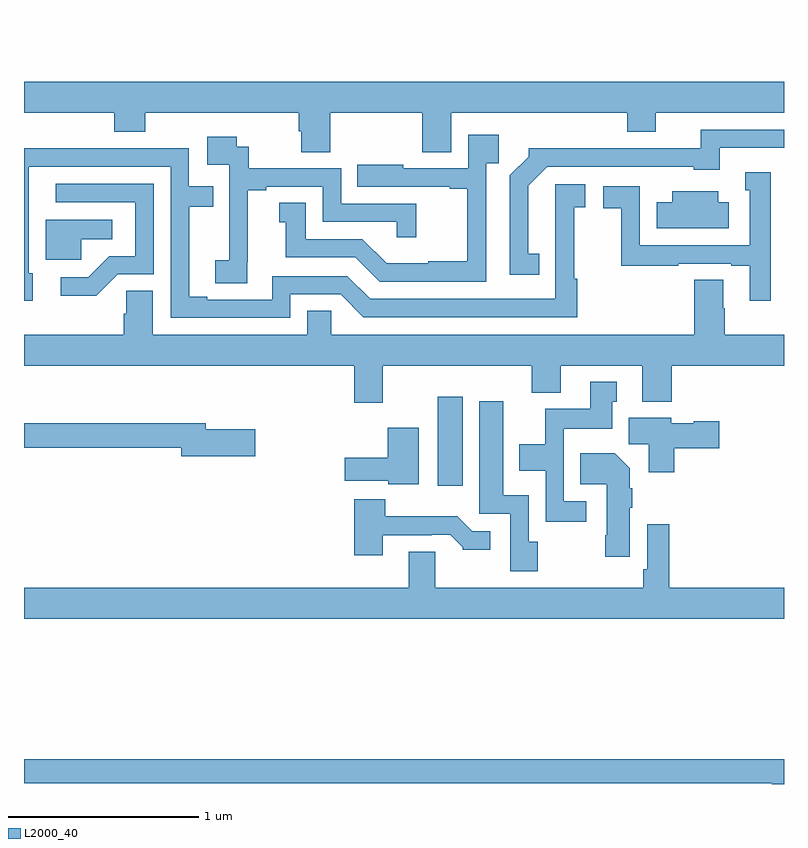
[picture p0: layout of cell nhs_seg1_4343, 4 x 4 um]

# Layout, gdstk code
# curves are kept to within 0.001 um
import gdstk
lib = gdstk.Library(unit=1e-6, precision=1e-09)
def R(c, l, rs):  # rectangles x0, y0, x1, y1
    for r in rs: c.add(gdstk.rectangle(r[:2], r[2:], *l))
def P(c, l, *ps):  # polygons
    for p in ps: c.add(gdstk.Polygon(p, *l))
L2000_40 = (2000, 40)

nhs_seg1_4343 = lib.new_cell('nhs_seg1_4343')
R(nhs_seg1_4343, L2000_40, [(349.178,549.768,349.309,550.237), (347,552.198,351,552.199)])
P(nhs_seg1_4343, L2000_40, [(348.611,551.732),(349.097,551.732),(349.097,551.524),(349.249,551.524),(349.249,551.732),(350.174,551.732),(350.174,551.633),(350.326,551.633),(350.326,551.732),(351,551.732),(351,551.896),(347,551.896),(347,551.732),(347.474,551.732),(347.474,551.633),(347.639,551.633),(347.639,551.732),(348.446,551.732),(348.446,551.634),(348.458,551.634),(348.458,551.524),(348.611,551.524)],
  [(349.712,550.991),(349.654,550.991),(349.654,551.347),(349.755,551.448),(350.526,551.448),(350.526,551.432),(350.662,551.432),(350.662,551.547),(351,551.547),(351,551.643),(350.563,551.643),(350.563,551.544),(350.09,551.544),(350.09,551.546),(349.656,551.546),(349.656,551.501),(349.557,551.402),(349.557,550.878),(349.712,550.878)],
  [(349.434,551.465),(349.499,551.465),(349.499,551.617),(349.338,551.617),(349.338,551.439),(348.997,551.439),(348.997,551.458),(348.754,551.458),(348.754,551.343),(349.241,551.343),(349.241,551.331),(349.333,551.331),(349.333,550.951),(349.127,550.951),(349.127,550.939),(348.908,550.939),(348.78,551.067),(348.484,551.067),(348.484,551.258),(348.344,551.258),(348.344,551.155),(348.377,551.155),(348.377,550.971),(348.744,550.971),(348.873,550.842),(349.434,550.842)],
  [(348.176,550.945),(348.178,550.945),(348.178,551.323),(348.274,551.323),(348.274,551.343),(348.573,551.343),(348.573,551.157),(348.963,551.157),(348.963,551.076),(349.064,551.076),(349.064,551.253),(348.669,551.253),(348.669,551.439),(348.182,551.439),(348.182,551.553),(348.12,551.553),(348.12,551.605),(347.964,551.605),(347.964,551.457),(348.081,551.457),(348.081,551.153),(348.08,551.153),(348.08,550.956),(348.006,550.956),(348.006,550.834),(348.176,550.834)],
  [(348.402,550.776),(348.666,550.776),(348.786,550.656),(349.913,550.656),(349.913,550.859),(349.896,550.859),(349.896,551.235),(349.954,551.235),(349.954,551.356),(349.796,551.356),(349.797,550.752),(348.822,550.752),(348.702,550.872),(348.306,550.872),(348.306,550.749),(347.965,550.749),(347.965,550.764),(347.869,550.764),(347.869,551.238),(347.996,551.238),(347.996,551.346),(347.868,551.346),(347.868,551.544),(347.39,551.544),(347.39,551.546),(347,551.546),(347,550.743),(347.047,550.743),(347.047,550.887),(347.025,550.887),(347.025,551.448),(347.772,551.448),(347.772,550.653),(348.402,550.653)],
  [(350.929,551.419),(350.795,551.419),(350.795,551.325),(350.82,551.325),(350.82,551.034),(350.241,551.034),(350.241,551.346),(350.049,551.346),(350.049,551.23),(350.143,551.23),(350.143,550.926),(350.444,550.926),(350.444,550.938),(350.723,550.938),(350.723,550.926),(350.819,550.926),(350.819,550.743),(350.929,550.743)],
  [(347.493,550.881),(347.682,550.881),(347.682,551.358),(347.166,551.358),(347.166,551.262),(347.586,551.262),(347.586,550.977),(347.448,550.977),(347.337,550.866),(347.193,550.866),(347.193,550.769),(347.38,550.769)],
  [(350.71,551.26),(350.653,551.26),(350.653,551.32),(350.411,551.32),(350.411,551.26),(350.33,551.26),(350.33,551.123),(350.71,551.123)],
  [(347.301,551.066),(347.464,551.066),(347.464,551.17),(347.114,551.17),(347.114,550.959),(347.301,550.959)],
  [(348.889,550.4),(349.673,550.4),(349.673,550.259),(349.825,550.259),(349.825,550.4),(350.255,550.4),(350.255,550.211),(350.408,550.211),(350.408,550.4),(351,550.4),(351,550.564),(350.688,550.564),(350.688,550.703),(350.68,550.703),(350.68,550.853),(350.528,550.853),(350.528,550.564),(348.618,550.564),(348.618,550.691),(348.491,550.691),(348.491,550.564),(347.677,550.564),(347.677,550.796),(347.538,550.796),(347.538,550.673),(347.525,550.673),(347.525,550.564),(347,550.564),(347,550.4),(348.737,550.4),(348.737,550.206),(348.889,550.206)],
  [(349.96,549.687),(349.842,549.687),(349.842,550.07),(350.095,550.07),(350.095,550.212),(350.119,550.212),(350.119,550.315),(349.979,550.315),(349.979,550.174),(349.744,550.174),(349.744,549.988),(349.607,549.988),(349.607,549.848),(349.746,549.848),(349.746,549.579),(349.96,549.579)],
  [(349.704,549.474),(349.656,549.474),(349.656,549.718),(349.522,549.718),(349.522,550.213),(349.397,550.213),(349.397,549.621),(349.56,549.621),(349.56,549.318),(349.704,549.318)],
  [(350.423,549.965),(350.659,549.965),(350.659,550.107),(350.526,550.107),(350.526,550.099),(350.406,550.099),(350.406,550.126),(350.183,550.126),(350.183,549.988),(350.288,549.988),(350.288,549.84),(350.423,549.84)],
  [(348.217,550.065),(347.956,550.065),(347.956,550.099),(347,550.099),(347,549.97),(347.828,549.97),(347.828,549.923),(348.217,549.923)],
  [(349.078,550.075),(348.914,550.075),(348.914,549.916),(348.687,549.916),(348.687,549.794),(348.918,549.794),(348.918,549.776),(349.078,549.776)],
  [(350.188,549.652),(350.201,549.652),(350.201,549.755),(350.188,549.755),(350.188,549.862),(350.11,549.94),(349.927,549.94),(349.927,549.776),(350.066,549.776),(350.066,549.508),(350.059,549.508),(350.059,549.396),(350.188,549.396)],
  [(348.889,549.507),(349.145,549.507),(349.145,549.51),(349.244,549.51),(349.308,549.446),(349.308,549.431),(349.453,549.431),(349.453,549.528),(349.359,549.528),(349.281,549.607),(348.902,549.607),(348.902,549.697),(348.737,549.697),(348.737,549.402),(348.889,549.402)],
  [(351,549.232),(350.396,549.232),(350.396,549.565),(350.28,549.565),(350.28,549.328),(350.26,549.328),(350.26,549.232),(349.165,549.232),(349.165,549.422),(349.025,549.422),(349.025,549.232),(347,549.232),(347,549.068),(351,549.068)],
  [(351,548.33),(347,548.33),(347,548.202),(350.936,548.202),(350.936,548.199),(351,548.199)])

lib.write_gds('nhs_seg1_4343.gds')
